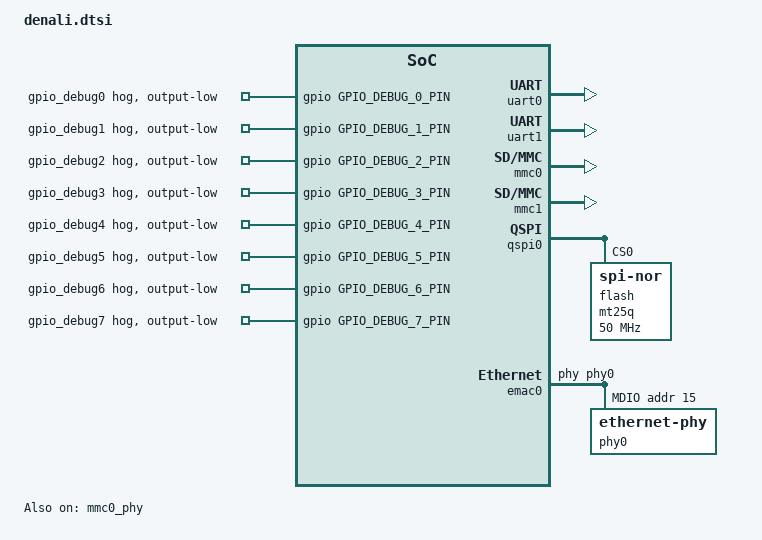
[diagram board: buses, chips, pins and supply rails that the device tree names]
// SPDX-License-Identifier: BSD-3-Clause
/*
 * Copyright (c) 2023, Analog Devices Incorporated, All Rights Reserved
 */

#include "adrv906x.dtsi"
#include "adrv906x-sysc.dtsi"
#include "adrv906x-protium.dtsi"

/ {
	chosen {
		stdout-path = &uart0;
	};

	/* Used by OP-TEE */
	secure-chosen {
		stdout-path = &uart0;
	};
};

&uart0 {
	status = "okay";
};

/* Required for OP-TEE to use UART1 */
&uart1 {
	status = "okay";
};

&mmc0 {
	status = "okay";
};

&mmc0_phy {
	status = "okay";
};

&mmc1 {
	status = "okay";
	/* BRINGUP TODO: Set this back to 50MHz */
	max-frequency = <12500000>;
};

&qspi0 {
	status = "okay";

	flash: mt25q@0 {
		compatible = "jedec,spi-nor";
		spi-max-frequency = <50000000>;
		reg = <0>;
		spi-tx-bus-width = <4>;
		spi-rx-bus-width = <4>;

		#include "denali-nor-flash-part.dtsi"
       };
};

&emac0 {
	status = "okay";
	phy-handle = <&phy0>;
	mdio0 {
		#address-cells = <1>;
		#size-cells = <0>;
		compatible = "snps,dwmac-mdio";
		phy0: ethernet-phy@0 {
			reg = <15>;
		};
	};
};

&pinctrl_hog {
	adi,pins = <
		/* Pins 66-73: Debug out signals */
		GPIO_DEBUG_0_PIN	(ADI_CONFIG_NO_PULL  | ADI_CONFIG_DRIVE_STRENGTH_4)
		GPIO_DEBUG_1_PIN	(ADI_CONFIG_NO_PULL  | ADI_CONFIG_DRIVE_STRENGTH_4)
		GPIO_DEBUG_2_PIN	(ADI_CONFIG_NO_PULL  | ADI_CONFIG_DRIVE_STRENGTH_4)
		GPIO_DEBUG_3_PIN	(ADI_CONFIG_NO_PULL  | ADI_CONFIG_DRIVE_STRENGTH_4)
		GPIO_DEBUG_4_PIN	(ADI_CONFIG_NO_PULL  | ADI_CONFIG_DRIVE_STRENGTH_4)
		GPIO_DEBUG_5_PIN	(ADI_CONFIG_NO_PULL  | ADI_CONFIG_DRIVE_STRENGTH_4)
		GPIO_DEBUG_6_PIN	(ADI_CONFIG_NO_PULL  | ADI_CONFIG_DRIVE_STRENGTH_4)
		GPIO_DEBUG_7_PIN	(ADI_CONFIG_NO_PULL  | ADI_CONFIG_DRIVE_STRENGTH_4)
	>;
};

&gpio {
	gpio_debug0 {
		gpio-hog;
		gpios = <GPIO_DEBUG_0_PIN GPIO_ACTIVE_HIGH>;
		output-low;
	};
	gpio_debug1 {
		gpio-hog;
		gpios = <GPIO_DEBUG_1_PIN GPIO_ACTIVE_HIGH>;
		output-low;
	};
	gpio_debug2 {
		gpio-hog;
		gpios = <GPIO_DEBUG_2_PIN GPIO_ACTIVE_HIGH>;
		output-low;
	};
	gpio_debug3 {
		gpio-hog;
		gpios = <GPIO_DEBUG_3_PIN GPIO_ACTIVE_HIGH>;
		output-low;
	};
	gpio_debug4 {
		gpio-hog;
		gpios = <GPIO_DEBUG_4_PIN GPIO_ACTIVE_HIGH>;
		output-low;
	};
	gpio_debug5 {
		gpio-hog;
		gpios = <GPIO_DEBUG_5_PIN GPIO_ACTIVE_HIGH>;
		output-low;
	};
	gpio_debug6 {
		gpio-hog;
		gpios = <GPIO_DEBUG_6_PIN GPIO_ACTIVE_HIGH>;
		output-low;
	};
	gpio_debug7 {
		gpio-hog;
		gpios = <GPIO_DEBUG_7_PIN GPIO_ACTIVE_HIGH>;
		output-low;
	};
};
